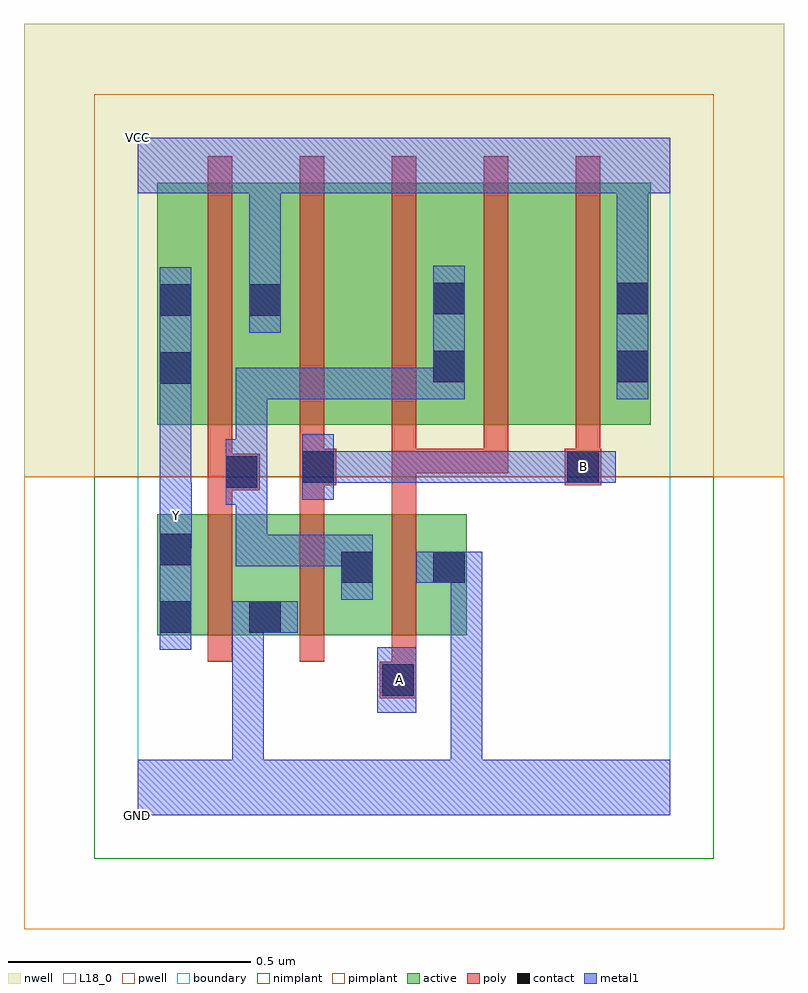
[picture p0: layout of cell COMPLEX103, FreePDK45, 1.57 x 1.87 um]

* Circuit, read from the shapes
.subckt COMPLEX103 A B GND VCC Y
M1 GND n1 Y VSUBS nfet w=0.25u l=0.05u
M2 n1 B GND VSUBS nfet w=0.25u l=0.05u
M3 GND A n1 VSUBS nfet w=0.25u l=0.05u
M4 VCC n1 Y n2 pfet w=0.5u l=0.05u
M5 n3 B VCC n2 pfet w=0.5u l=0.05u
M6 n1 A n3 n2 pfet w=0.5u l=0.05u
M7 n4 A n1 n2 pfet w=0.5u l=0.05u
M8 VCC B n4 n2 pfet w=0.5u l=0.05u
.ends

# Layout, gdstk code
import gdstk
lib = gdstk.Library(unit=1e-6, precision=1e-09)
def R(c, l, rs):  # rectangles x0, y0, x1, y1
    for r in rs: c.add(gdstk.rectangle(r[:2], r[2:], *l))
def A(c, l, x, y, w, h, nx, ny, dx, dy):  # array of equal rectangles
    R(c, l, [(x+i*dx, y+j*dy, x+i*dx+w, y+j*dy+h) for i in range(nx) for j in range(ny)])
active = (1, 0)
pwell = (2, 0)
nwell = (3, 0)
nimplant = (4, 0)
pimplant = (5, 0)
poly = (9, 0)
contact = (10, 0)
metal1 = (11, 0)
L18_0 = (18, 0)
boundary = (235, 0)

complex103 = lib.new_cell('COMPLEX103')
R(complex103, active, [(0.04,0.372,0.115,0.622), (0.04,0.372,0.3,0.622), (0.225,0.372,0.49,0.622), (0.225,0.372,0.3,0.497), (0.415,0.372,0.49,0.622), (0.415,0.372,0.68,0.622), (0.605,0.372,0.68,0.622), (0.04,0.807,0.115,1.2), (0.04,0.807,0.3,1.307), (0.225,0.807,0.3,1.307), (0.225,0.807,0.455,1.307), (0.455,0.807,0.68,1.307), (0.605,0.807,0.835,1.307), (0.605,0.807,0.68,1.2), (0.835,0.807,1.06,1.307), (0.985,0.807,1.06,1.307)])
R(complex103, pwell, [(-0.235,-0.235,1.335,0.7)])
R(complex103, nwell, [(-0.235,0.7,1.335,1.635)])
R(complex103, nimplant, [(-0.09,-0.09,1.19,0.7)])
R(complex103, pimplant, [(-0.09,0.7,1.19,1.49)])
A(complex103, poly, 0.145, 0.317, 0.05, 0.36, 3, 1, 0.19, 0)
A(complex103, poly, 0.335, 0.707, 0.05, 0.095, 4, 1, 0.19, 0)
A(complex103, poly, 0.145, 0.752, 0.05, 0.61, 5, 1, 0.19, 0)
R(complex103, poly, [(0.5,0.242,0.575,0.317), (0.525,0.267,0.575,0.367), (0.145,0.627,0.195,0.722), (0.335,0.627,0.385,0.732), (0.525,0.627,0.575,0.757), (0.145,0.672,0.252,0.747), (0.335,0.682,0.41,0.757), (0.882,0.682,0.957,0.757), (0.145,0.697,0.195,0.802), (0.525,0.707,0.575,0.757), (0.525,0.707,0.765,0.757), (0.715,0.707,0.765,0.757), (0.715,0.707,0.765,0.757), (0.715,0.707,0.765,0.757)])
R(complex103, contact, [(0.505,0.247,0.57,0.312), (0.045,0.377,0.11,0.442), (0.23,0.377,0.295,0.442), (0.42,0.48,0.485,0.545), (0.61,0.48,0.675,0.545), (0.045,0.517,0.11,0.582), (0.182,0.677,0.247,0.742), (0.34,0.687,0.405,0.752), (0.887,0.687,0.952,0.752), (0.045,0.892,0.11,0.957), (0.61,0.895,0.675,0.96), (0.99,0.895,1.055,0.96), (0.045,1.032,0.11,1.097), (0.23,1.032,0.295,1.097), (0.61,1.035,0.675,1.1), (0.99,1.035,1.055,1.1)])
R(complex103, metal1, [(0,0,1.1,0.115), (0.195,0.05,0.26,0.442), (0.647,0.05,0.712,0.115), (0.647,0.05,0.712,0.115), (0.647,0.05,0.712,0.115), (0.647,0.05,0.712,0.115), (0.647,0.05,0.712,0.545), (0.495,0.212,0.575,0.347), (0.045,0.342,0.11,0.617), (0.195,0.377,0.33,0.442), (0.195,0.377,0.26,0.442), (0.195,0.377,0.26,0.442), (0.195,0.377,0.26,0.442), (0.195,0.377,0.26,0.442), (0.195,0.377,0.26,0.442), (0.195,0.377,0.26,0.442), (0.42,0.445,0.485,0.58), (0.575,0.48,0.712,0.545), (0.647,0.48,0.712,0.545), (0.647,0.48,0.712,0.545), (0.202,0.515,0.267,0.58), (0.202,0.515,0.397,0.58), (0.202,0.515,0.267,0.707), (0.332,0.515,0.397,0.58), (0.332,0.515,0.485,0.58), (0.045,0.552,0.11,0.617), (0.045,0.552,0.112,0.687), (0.045,0.622,0.11,0.922), (0.182,0.642,0.247,0.777), (0.182,0.642,0.267,0.707), (0.202,0.642,0.267,0.707), (0.202,0.642,0.267,0.925), (0.34,0.652,0.405,0.787), (0.34,0.687,0.405,0.752), (0.34,0.687,0.405,0.752), (0.34,0.687,0.575,0.752), (0.51,0.687,0.575,0.752), (0.51,0.687,0.575,0.752), (0.51,0.687,0.575,0.752), (0.51,0.687,0.78,0.752), (0.715,0.687,0.917,0.752), (0.715,0.687,0.78,0.752), (0.715,0.687,0.78,0.752), (0.715,0.687,0.78,0.752), (0.852,0.687,0.987,0.752), (0.045,0.857,0.11,1.132), (0.202,0.86,0.267,0.925), (0.202,0.86,0.422,0.925), (0.357,0.86,0.422,0.925), (0.357,0.86,0.422,0.925), (0.357,0.86,0.422,0.925), (0.357,0.86,0.642,0.925), (0.577,0.86,0.642,0.925), (0.577,0.86,0.675,0.925), (0.61,0.86,0.675,1.135), (0.99,0.86,1.055,1.135), (0.23,0.997,0.295,1.132), (0.23,1.067,0.295,1.35), (0.99,1.07,1.055,1.35), (0,1.285,1.1,1.4)])
R(complex103, L18_0, [(0,0,1.1,0.115), (0.195,0.05,0.26,0.442), (0.647,0.05,0.712,0.115), (0.647,0.05,0.712,0.115), (0.647,0.05,0.712,0.115), (0.647,0.05,0.712,0.115), (0.647,0.05,0.712,0.545), (0.495,0.212,0.575,0.347), (0.507,0.247,0.572,0.312), (0.045,0.342,0.11,0.617), (0.195,0.377,0.26,0.442), (0.195,0.377,0.26,0.442), (0.195,0.377,0.26,0.442), (0.195,0.377,0.26,0.442), (0.195,0.377,0.26,0.442), (0.195,0.377,0.26,0.442), (0.195,0.377,0.33,0.442), (0.575,0.48,0.712,0.545), (0.647,0.48,0.712,0.545), (0.647,0.48,0.712,0.545), (0.045,0.552,0.112,0.687), (0.045,0.552,0.11,0.617), (0.047,0.587,0.112,0.652), (0.045,0.622,0.11,0.922), (0.34,0.652,0.405,0.787), (0.34,0.687,0.405,0.752), (0.34,0.687,0.405,0.752), (0.34,0.687,0.575,0.752), (0.51,0.687,0.575,0.752), (0.51,0.687,0.575,0.752), (0.51,0.687,0.575,0.752), (0.51,0.687,0.78,0.752), (0.715,0.687,0.78,0.752), (0.715,0.687,0.78,0.752), (0.715,0.687,0.78,0.752), (0.715,0.687,0.917,0.752), (0.852,0.687,0.987,0.752), (0.887,0.687,0.952,0.752), (0.045,0.857,0.11,1.132), (0.99,0.86,1.055,1.135), (0.23,0.997,0.295,1.132), (0.23,1.067,0.295,1.35), (0.99,1.07,1.055,1.35), (0,1.285,1.1,1.4)])
R(complex103, boundary, [(0,0,1.1,1.4)])
complex103.add(gdstk.Label('A', (0.54,0.28), layer=11, texttype=0))
complex103.add(gdstk.Label('B', (0.92,0.72), layer=11, texttype=0))
complex103.add(gdstk.Label('Y', (0.08,0.62), layer=11, texttype=0))
complex103.add(gdstk.Label('VCC', (0,1.4), layer=11, texttype=0))
complex103.add(gdstk.Label('GND', (0,0), layer=11, texttype=0))

lib.write_gds('COMPLEX103.gds')
